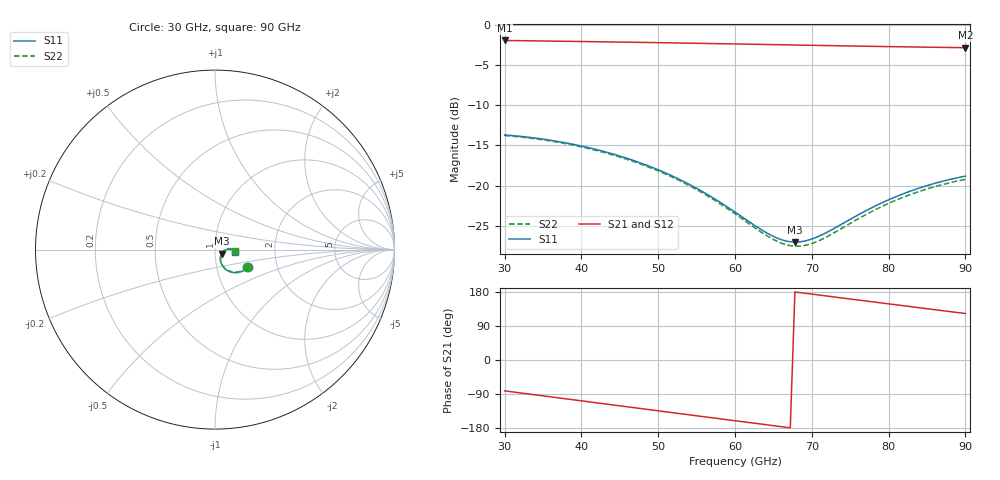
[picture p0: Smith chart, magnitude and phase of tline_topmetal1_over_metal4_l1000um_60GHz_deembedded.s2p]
! Created with skrf 2.0.1 (http://scikit-rf.org).
# GHz S DB R 50.0
!freq dBS11 angS11 dBS21 angS21 dBS12 angS12 dBS22 angS22
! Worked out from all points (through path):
!   101 points, 30 GHz to 90 GHz, reference 50 ohm
!   highest |S21| = -1.94 dB at 30 GHz (marker M1); lowest = -2.8 dB at 90 GHz (marker M2)
!   group delay of S21, straight-line fit = 7.22 ps
!   lowest |S11| = -27.0 dB at 67.8 GHz (marker M3), VSWR 1.09, Z = 53.9 - j2.47 ohm
!   |S11| at or under -10 dB: start of sweep to end of sweep
!   |S22| runs from -27.5 to -13.8 dB; largest |S21 - S12| = 9.2e-14
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30  -13.69 -28.8  -1.94 -81.4  -1.94 -81.4  -13.77 -28.4
32.4  -13.90 -33.2  -1.97 -87.8  -1.97 -87.8  -13.98 -32.7
34.8  -14.18 -37.5  -2.00 -94.1  -2.00 -94.1  -14.27 -37.0
37.2  -14.54 -41.8  -2.03 -100.4  -2.03 -100.4  -14.64 -41.2
40.2  -15.11 -47.0  -2.07 -108.3  -2.07 -108.3  -15.22 -46.4
45  -16.31 -54.8  -2.14 -120.9  -2.14 -120.9  -16.44 -54.1
47.4  -17.07 -58.3  -2.17 -127.3  -2.17 -127.3  -17.20 -57.6
50.4  -18.19 -62.0  -2.22 -135.1  -2.22 -135.1  -18.33 -61.3
55.2  -20.43 -65.5  -2.29 -147.7  -2.29 -147.7  -20.59 -64.9
60  -23.28 -63.1  -2.37 -160.2  -2.37 -160.2  -23.50 -62.8
63  -25.21 -55.7  -2.42 -168.0  -2.42 -168.0  -25.51 -55.5
64.8  -26.21 -48.0  -2.45 -172.7  -2.45 -172.7  -26.59 -47.9
66.6  -26.86 -38.1  -2.49 -177.4  -2.49 -177.4  -27.32 -37.7
67.8  -27.01 -30.8  -2.51 179.5  -2.51 179.5  -27.52 -30.1
69  -26.90 -23.7  -2.53 176.4  -2.53 176.4  -27.44 -22.6
70.2  -26.56 -17.2  -2.55 173.3  -2.55 173.3  -27.13 -15.6
72  -25.78 -9.3  -2.58 168.7  -2.58 168.7  -26.33 -7.2
75  -24.18 -1.5  -2.63 161.0  -2.63 161.0  -24.69 1.2
78  -22.65 1.4  -2.67 153.3  -2.67 153.3  -23.11 4.4
80.4  -21.59 1.4  -2.71 147.1  -2.71 147.1  -22.03 4.6
85.2  -19.93 -2.0  -2.78 134.9  -2.78 134.9  -20.34 1.4
90  -18.81 -7.8  -2.84 122.7  -2.84 122.7  -19.21 -4.3
